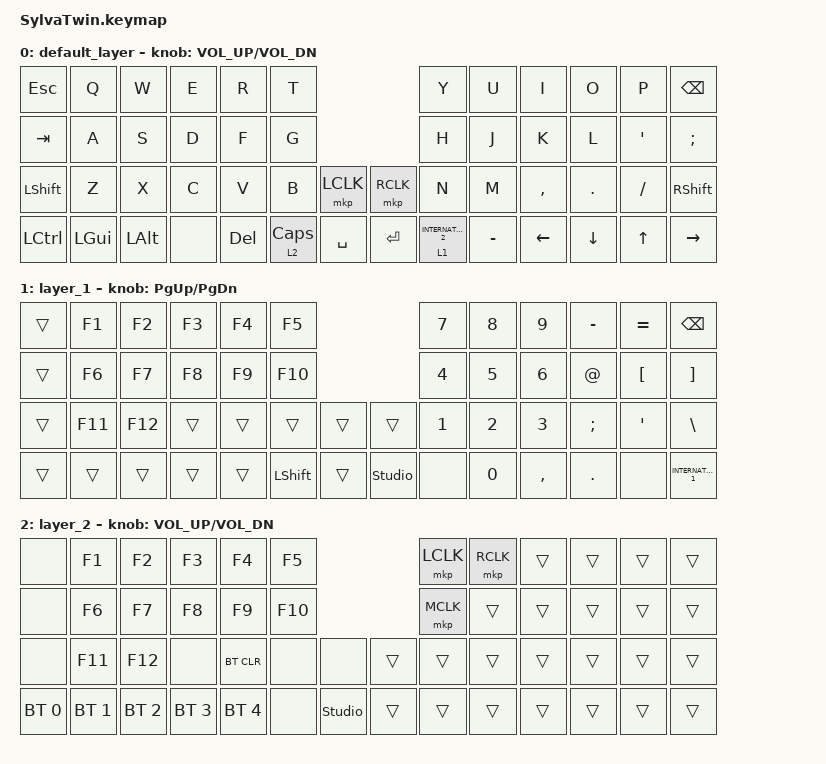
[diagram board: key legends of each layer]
/*
 * Copyright (c) 2020 The ZMK Contributors
 *
 * SPDX-License-Identifier: MIT
 */

#include <behaviors.dtsi>
#include <dt-bindings/zmk/bt.h>
#include <dt-bindings/zmk/keys.h>
#include <dt-bindings/zmk/pointing.h>

/ {
    combos {
        compatible = "zmk,combos";

        prtsc {
            bindings = <&kp PRINTSCREEN>;
            key-positions = <10 11>;
        };

        RightClick {
            bindings = <&mkp RCLK>;
            key-positions = <30 44>;
        };

        MiddleClick {
            bindings = <&mkp MCLK>;
            key-positions = <29 43>;
        };

        RightClick2 {
            bindings = <&mkp RCLK>;
            key-positions = <31 45>;
        };

        MiddleClick2 {
            bindings = <&mkp MCLK>;
            key-positions = <32 46>;
        };

        zen-han {
            bindings = <&kp GRAVE>;
            key-positions = <0 1>;
        };

        paste {
            bindings = <&kp LC(V)>;
            key-positions = <42 28>;
        };

        copy {
            bindings = <&kp LC(C)>;
            key-positions = <41 27>;
        };

        cut {
            bindings = <&kp LC(X)>;
            key-positions = <40 26>;
        };
    };

    keymap {
        compatible = "zmk,keymap";

        default_layer {
            bindings = <
&kp ESC     &kp Q     &kp W     &kp E  &kp R    &kp T                                 &kp Y                  &kp U      &kp I           &kp O           &kp P         &kp BSPC
&kp TAB     &kp A     &kp S     &kp D  &kp F    &kp G                                 &kp H                  &kp J      &kp K           &kp L           &kp APOS      &kp SEMI
&kp LSHIFT  &kp Z     &kp X     &kp C  &kp V    &kp B           &mkp LCLK  &mkp RCLK  &kp N                  &kp M      &kp COMMA       &kp DOT         &kp SLASH     &kp RSHIFT
&kp LCTRL   &kp LGUI  &kp LALT  &none  &kp DEL  &lt 2 CAPSLOCK  &kp SPACE  &kp ENTER  &lt 1 INTERNATIONAL_2  &kp MINUS  &kp LEFT_ARROW  &kp DOWN_ARROW  &kp UP_ARROW  &kp RIGHT
            >;

            sensor-bindings = <&inc_dec_kp C_VOL_UP C_VOL_DN>;
        };

        layer_1 {
            bindings = <
&trans  &kp F1   &kp F2   &kp F3  &kp F4  &kp F5                                  &kp NUMBER_7  &kp NUMBER_8  &kp NUMBER_9  &kp MINUS      &kp EQUAL         &kp BACKSPACE
&trans  &kp F6   &kp F7   &kp F8  &kp F9  &kp F10                                 &kp NUMBER_4  &kp NUMBER_5  &kp NUMBER_6  &kp AT         &kp LEFT_BRACKET  &kp RIGHT_BRACKET
&trans  &kp F11  &kp F12  &trans  &trans  &trans          &trans  &trans          &kp NUMBER_1  &kp NUMBER_2  &kp NUMBER_3  &kp SEMICOLON  &kp SINGLE_QUOTE  &kp BSLH
&trans  &trans   &trans   &trans  &trans  &kp LEFT_SHIFT  &trans  &studio_unlock  &none         &kp NUMBER_0  &kp COMMA     &kp PERIOD     &none             &kp INTERNATIONAL_1
            >;

            sensor-bindings = <&inc_dec_kp PG_UP PAGE_DOWN>;
        };

        layer_2 {
            bindings = <
&none         &kp F1        &kp F2        &kp F3        &kp F4        &kp F5                           &mkp LCLK  &mkp RCLK  &trans  &trans  &trans  &trans
&none         &kp F6        &kp F7        &kp F8        &kp F9        &kp F10                          &mkp MCLK  &trans     &trans  &trans  &trans  &trans
&none         &kp F11       &kp F12       &none         &bt BT_CLR    &none    &none           &trans  &trans     &trans     &trans  &trans  &trans  &trans
&bt BT_SEL 0  &bt BT_SEL 1  &bt BT_SEL 2  &bt BT_SEL 3  &bt BT_SEL 4  &none    &studio_unlock  &trans  &trans     &trans     &trans  &trans  &trans  &trans
            >;

            sensor-bindings = <&inc_dec_kp C_VOL_UP C_VOL_DN>;
        };
    };
};
